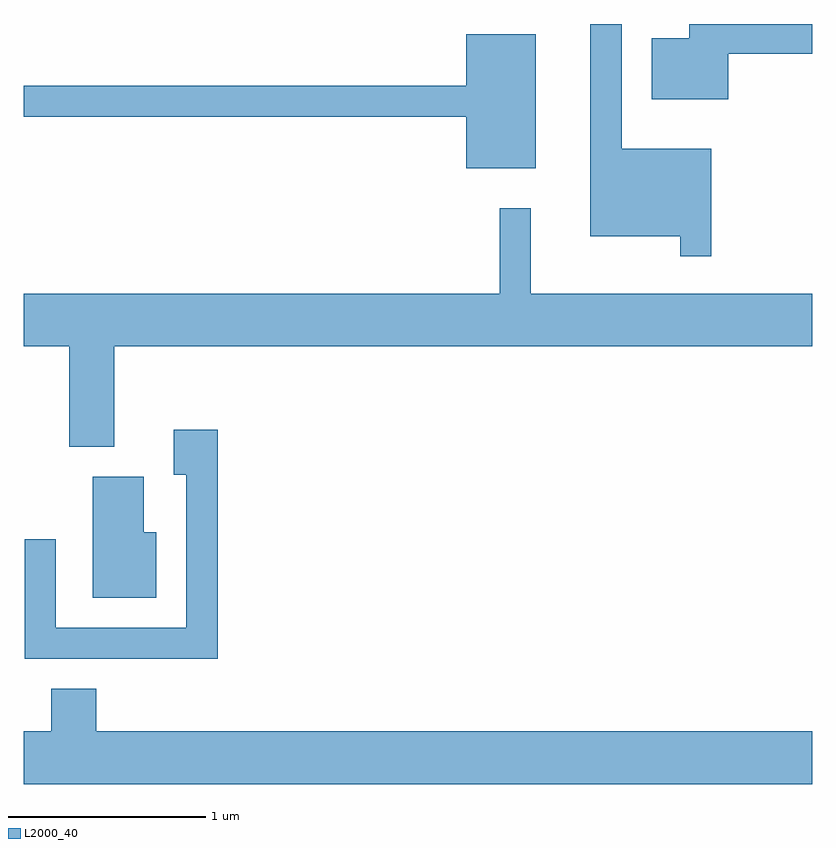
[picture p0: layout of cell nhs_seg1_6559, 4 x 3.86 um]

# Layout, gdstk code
import gdstk
lib = gdstk.Library(unit=1e-6, precision=1e-09)
def P(c, l, *ps):  # polygons
    for p in ps: c.add(gdstk.Polygon(p, *l))
L2000_40 = (2000, 40)

nhs_seg1_6559 = lib.new_cell('nhs_seg1_6559')
P(nhs_seg1_6559, L2000_40, [(387.099,845.079),(386.644,845.079),(386.644,845.712),(386.486,845.712),(386.486,844.636),(386.941,844.636),(386.941,844.533),(387.099,844.533)],
  [(387.184,845.561),(387.611,845.561),(387.611,845.712),(386.986,845.712),(386.986,845.639),(386.796,845.639),(386.796,845.331),(387.184,845.331)],
  [(386.209,845.659),(385.856,845.659),(385.856,845.399),(383.611,845.399),(383.611,845.241),(385.856,845.241),(385.856,844.981),(386.209,844.981)],
  [(384.069,844.076),(387.611,844.076),(387.611,844.344),(386.184,844.344),(386.184,844.778),(386.026,844.778),(386.026,844.344),(383.611,844.344),(383.611,844.076),(383.841,844.076),(383.841,843.566),(384.069,843.566)],
  [(384.594,843.654),(384.371,843.654),(384.371,843.426),(384.436,843.426),(384.436,842.649),(383.774,842.649),(383.774,843.098),(383.616,843.098),(383.616,842.491),(384.594,842.491)],
  [(384.284,843.134),(384.219,843.134),(384.219,843.414),(383.961,843.414),(383.961,842.801),(384.284,842.801)],
  [(387.611,842.124),(383.979,842.124),(383.979,842.339),(383.751,842.339),(383.751,842.124),(383.611,842.124),(383.611,841.856),(387.611,841.856)])

lib.write_gds('nhs_seg1_6559.gds')
